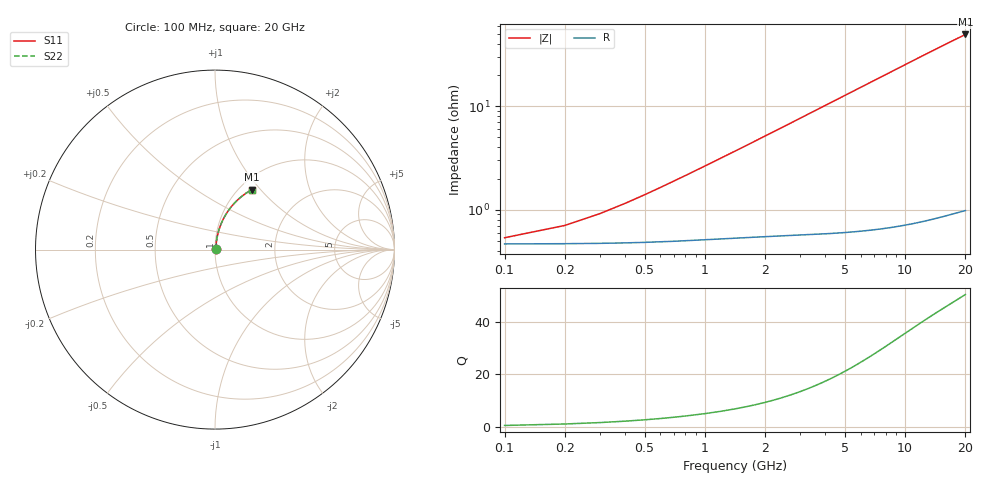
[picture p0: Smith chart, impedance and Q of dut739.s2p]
! Touchstone file exported from HFSS 2026.1.0
!  File:  C:/ffzhzh/LocalFiles/Ansys_Project_Files/temp_train_TMRDL_739_1783155063_43440.aedt
!  Generated:  04:52:21 PM Jul  4, 2026
!  Design:  TMRDL
!  Project:  temp_train_TMRDL_739_1783155063_43440
! Variables:
!  h_bsmrdl = 2um
!  h_ox = 20um
!  h_rdl = 5um
!  h_sub = 80um
!  h_tmrdl = 2.08um
!  h_tsv = 80um
!  h_via = 3um
!  l_bsmrdl = 300um
!  l_sub = 715.71um
!  l_tmrdl = 315.71um
!  m_sub = 200um
!  pitch = 56.35um
!  r_tsv = 6um
!  s_tmrdl = 10um
!  w_bsmrdl = 18um
!  w_sub = 500um
!  w_tmrdl = 12.16um
!  x_tsv_center1 = 321.79um
!  x_tsv_center2 = 639.79um
!  x_tsv_center3 = 967.66um
!  x_tsv_center4 = 1285.66um
!  x_tsv_center5 = 1613.53um
!  x_tsv_center6 = 1931.53um
# GHz S MA R 50.000000
! Terminal data exported
! Port[1] = TM_RDL1_1_T1
! Port[2] = TM_RDL1_1_T2
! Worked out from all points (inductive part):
!   200 points, 100 MHz to 20 GHz, reference 50 ohm
!   read as one part in series: L = 413 pH near 600 MHz
!   highest Q = 50.3 at 20 GHz (marker M1), where L = 393 pH
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0.1  0.005186 26.2  0.9954 -0.2  0.9954 -0.2  0.005186 26.2
! Gamma 0 0 0 0
! Port Impedance 50 0 50 0
0.3  0.008352 55.2  0.9953 -0.5  0.9953 -0.5  0.008352 55.2
0.4  0.01034 62.0  0.9952 -0.7  0.9952 -0.7  0.01034 62.0
0.5  0.01242 66.4  0.9951 -0.8  0.9951 -0.8  0.01242 66.4
0.6  0.01455 69.5  0.995 -1.0  0.995 -1.0  0.01455 69.5
0.7  0.0167 71.7  0.9949 -1.2  0.9949 -1.2  0.0167 71.7
0.9  0.02104 74.6  0.9948 -1.5  0.9948 -1.5  0.02104 74.6
1.2  0.02757 77.2  0.9944 -2.0  0.9944 -2.0  0.02757 77.2
1.4  0.03192 78.2  0.9942 -2.3  0.9942 -2.3  0.03192 78.2
1.7  0.03846 79.2  0.9939 -2.8  0.9939 -2.8  0.03846 79.2
2.2  0.04936 80.0  0.9933 -3.6  0.9933 -3.6  0.04936 80.0
2.8  0.06245 80.3  0.9925 -4.6  0.9925 -4.6  0.06245 80.3
3.5  0.07769 80.1  0.9913 -5.7  0.9913 -5.7  0.07769 80.1
4.2  0.09289 79.6  0.9899 -6.8  0.9899 -6.8  0.09289 79.6
5  0.1102 78.8  0.988 -8.1  0.988 -8.1  0.1102 78.8
5.9  0.1294 77.8  0.9855 -9.5  0.9855 -9.5  0.1294 77.8
6.8  0.1485 76.6  0.9827 -11.0  0.9827 -11.0  0.1485 76.6
8.3  0.1798 74.6  0.9772 -13.3  0.9772 -13.3  0.1798 74.6
10.1  0.2164 72.0  0.9694 -16.1  0.9694 -16.1  0.2164 72.1
13.4  0.2803 67.3  0.9523 -21.1  0.9523 -21.1  0.2803 67.3
16.7  0.3394 62.7  0.9323 -25.9  0.9323 -25.9  0.3394 62.7
20  0.3935 58.3  0.9104 -30.4  0.9104 -30.4  0.3935 58.3
